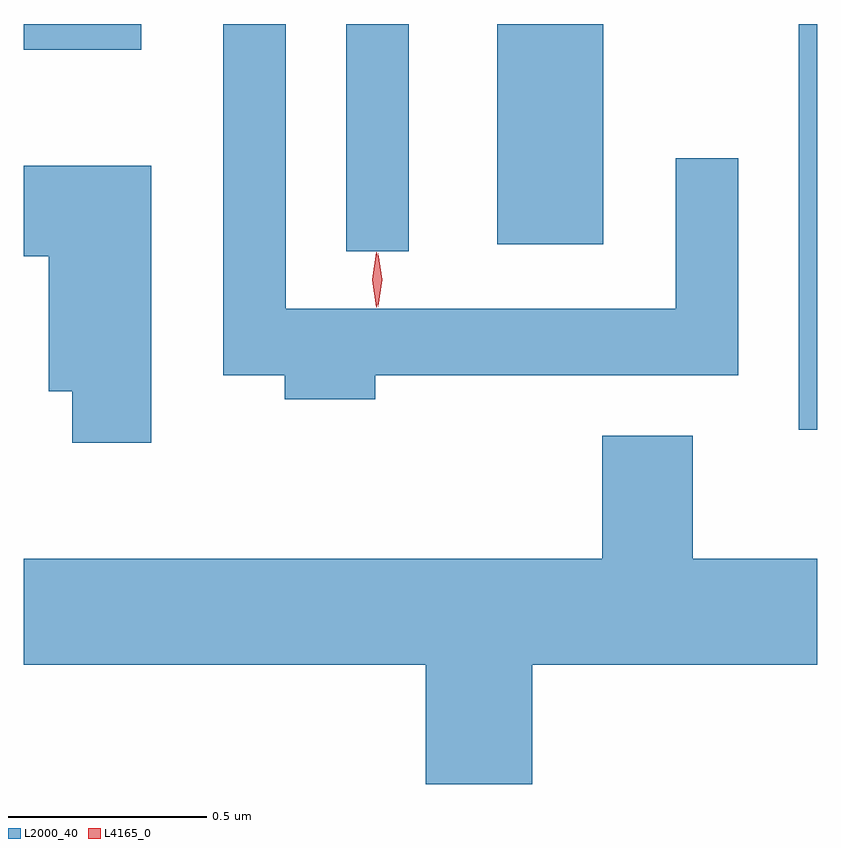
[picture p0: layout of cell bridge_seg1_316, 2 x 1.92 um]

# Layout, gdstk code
import gdstk
lib = gdstk.Library(unit=1e-6, precision=1e-09)
def R(c, l, rs):  # rectangles x0, y0, x1, y1
    for r in rs: c.add(gdstk.rectangle(r[:2], r[2:], *l))
def P(c, l, *ps):  # polygons
    for p in ps: c.add(gdstk.Polygon(p, *l))
L2000_40 = (2000, 40)
L4165_0 = (4165, 0)

bridge_seg1_316 = lib.new_cell('bridge_seg1_316')
R(bridge_seg1_316, L2000_40, [(875.356,886.848,875.403,887.871), (874.216,887.298,874.374,887.871), (874.596,887.316,874.864,887.871), (873.403,887.806,873.699,887.871)])
P(bridge_seg1_316, L2000_40, [(874.289,886.986),(875.204,886.986),(875.204,887.533),(875.046,887.533),(875.046,887.154),(874.064,887.154),(874.064,887.871),(873.906,887.871),(873.906,886.986),(874.061,886.986),(874.061,886.926),(874.289,886.926)],
  [(873.724,887.514),(873.403,887.514),(873.403,887.286),(873.466,887.286),(873.466,886.946),(873.526,886.946),(873.526,886.816),(873.724,886.816)],
  [(874.684,886.256),(875.403,886.256),(875.403,886.524),(875.089,886.524),(875.089,886.834),(874.861,886.834),(874.861,886.524),(873.403,886.524),(873.403,886.256),(874.416,886.256),(874.416,885.956),(874.684,885.956)])
P(bridge_seg1_316, L4165_0, [(874.292,887.157),(874.292,887.157),(874.282,887.227),(874.292,887.296),(874.292,887.296),(874.293,887.296),(874.302,887.227),(874.293,887.157)],
  [(874.296,887.159),(874.296,887.16),(874.286,887.226),(874.296,887.292),(874.296,887.293),(874.296,887.292),(874.306,887.226),(874.296,887.16)])

lib.write_gds('bridge_seg1_316.gds')
